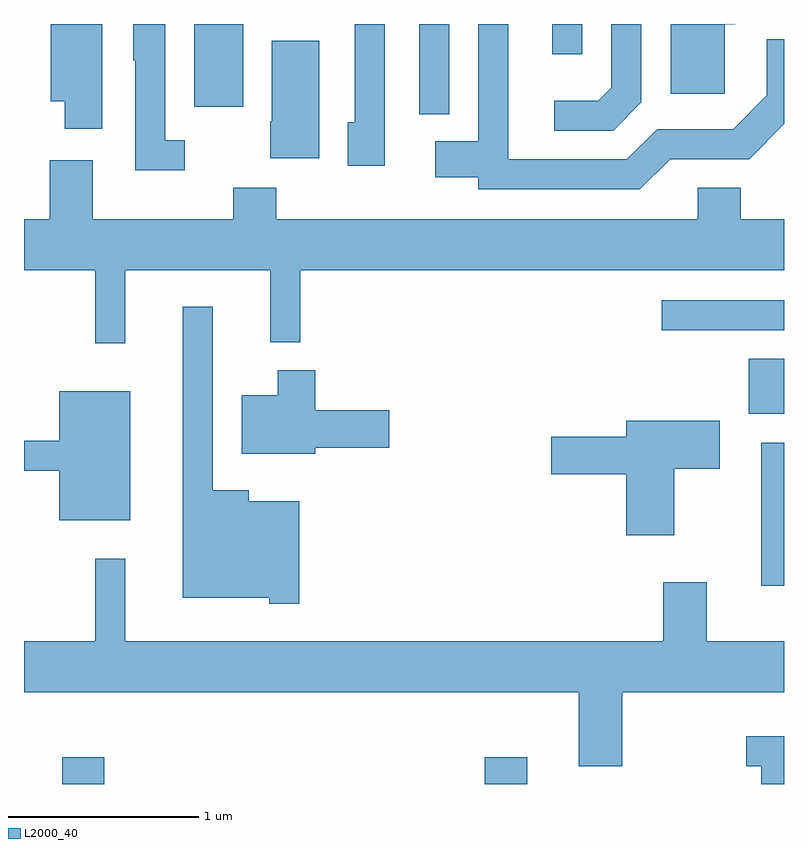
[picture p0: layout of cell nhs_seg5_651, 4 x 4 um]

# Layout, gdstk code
import gdstk
lib = gdstk.Library(unit=1e-6, precision=1e-09)
def R(c, l, rs):  # rectangles x0, y0, x1, y1
    for r in rs: c.add(gdstk.rectangle(r[:2], r[2:], *l))
def P(c, l, *ps):  # polygons
    for p in ps: c.add(gdstk.Polygon(p, *l))
L2000_40 = (2000, 40)

nhs_seg5_651 = lib.new_cell('nhs_seg5_651')
R(nhs_seg5_651, L2000_40, [(203.811,1474.072,204.034,1474.214), (206.036,1474.072,206.259,1474.214), (207.491,1475.116,207.611,1475.869), (207.426,1476.021,207.611,1476.309), (206.968,1476.461,207.611,1476.619), (205.691,1477.598,205.849,1478.072), (204.506,1477.636,204.764,1478.072), (206.391,1477.913,206.549,1478.072)])
P(nhs_seg5_651, L2000_40, [(207.012,1477.361),(207.427,1477.361),(207.611,1477.546),(207.611,1477.993),(207.521,1477.993),(207.521,1477.697),(207.344,1477.519),(206.944,1477.519),(206.784,1477.359),(206.159,1477.359),(206.159,1478.072),(206.001,1478.072),(206.001,1477.454),(205.776,1477.454),(205.776,1477.266),(206.001,1477.266),(206.001,1477.201),(206.852,1477.201)],
  [(207.299,1478.071),(207.354,1478.071),(207.354,1478.072),(207.016,1478.072),(207.016,1477.706),(207.299,1477.706)],
  [(204.024,1478.072),(203.751,1478.072),(203.751,1477.666),(203.826,1477.666),(203.826,1477.521),(204.024,1477.521)],
  [(204.458,1477.459),(204.354,1477.459),(204.354,1478.072),(204.186,1478.072),(204.186,1477.88),(204.196,1477.88),(204.196,1477.301),(204.458,1477.301)],
  [(205.509,1478.072),(205.351,1478.072),(205.351,1477.554),(205.316,1477.554),(205.316,1477.326),(205.509,1477.326)],
  [(206.859,1477.659),(206.859,1478.072),(206.701,1478.072),(206.701,1477.737),(206.634,1477.669),(206.403,1477.669),(206.403,1477.511),(206.712,1477.511)],
  [(205.164,1477.984),(204.916,1477.984),(204.916,1477.56),(204.906,1477.56),(204.906,1477.366),(205.164,1477.366)],
  [(204.144,1476.776),(204.906,1476.776),(204.906,1476.398),(205.064,1476.398),(205.064,1476.776),(207.611,1476.776),(207.611,1477.044),(207.384,1477.044),(207.384,1477.209),(207.156,1477.209),(207.156,1477.044),(204.939,1477.044),(204.939,1477.209),(204.711,1477.209),(204.711,1477.044),(203.974,1477.044),(203.974,1477.354),(203.746,1477.354),(203.746,1477.044),(203.611,1477.044),(203.611,1476.776),(203.986,1476.776),(203.986,1476.393),(204.144,1476.393)],
  [(205.059,1475.559),(204.794,1475.559),(204.794,1475.619),(204.604,1475.619),(204.604,1476.583),(204.446,1476.583),(204.446,1475.051),(204.901,1475.051),(204.901,1475.021),(205.059,1475.021)],
  [(205.144,1475.841),(205.534,1475.841),(205.534,1476.039),(205.144,1476.039),(205.144,1476.249),(204.946,1476.249),(204.946,1476.119),(204.756,1476.119),(204.756,1475.811),(205.144,1475.811)],
  [(204.169,1476.139),(203.796,1476.139),(203.796,1475.879),(203.611,1475.879),(203.611,1475.721),(203.796,1475.721),(203.796,1475.461),(204.169,1475.461)],
  [(207.034,1475.731),(207.274,1475.731),(207.274,1475.984),(206.781,1475.984),(206.781,1475.899),(206.386,1475.899),(206.386,1475.701),(206.781,1475.701),(206.781,1475.381),(207.034,1475.381)],
  [(206.759,1474.556),(207.611,1474.556),(207.611,1474.824),(207.204,1474.824),(207.204,1475.134),(206.976,1475.134),(206.976,1474.824),(204.144,1474.824),(204.144,1475.258),(203.986,1475.258),(203.986,1474.824),(203.611,1474.824),(203.611,1474.556),(206.531,1474.556),(206.531,1474.166),(206.759,1474.166)],
  [(207.611,1474.324),(207.413,1474.324),(207.413,1474.166),(207.491,1474.166),(207.491,1474.072),(207.611,1474.072)])

lib.write_gds('nhs_seg5_651.gds')
